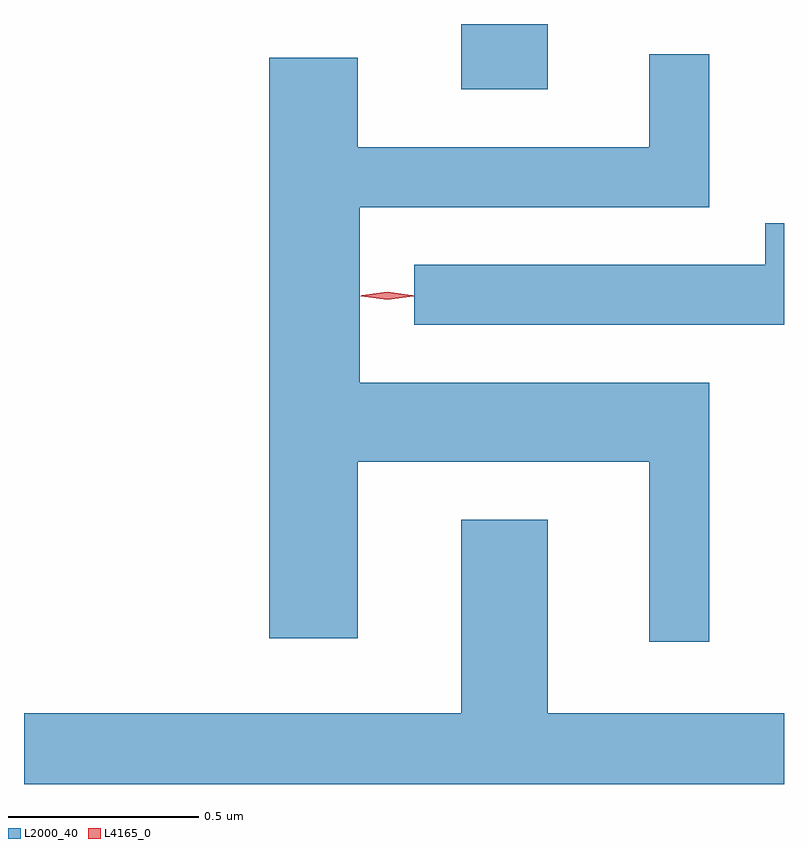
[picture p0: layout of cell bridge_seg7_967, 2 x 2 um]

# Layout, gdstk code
import gdstk
lib = gdstk.Library(unit=1e-6, precision=1e-09)
def R(c, l, rs):  # rectangles x0, y0, x1, y1
    for r in rs: c.add(gdstk.rectangle(r[:2], r[2:], *l))
def P(c, l, *ps):  # polygons
    for p in ps: c.add(gdstk.Polygon(p, *l))
L2000_40 = (2000, 40)
L4165_0 = (4165, 0)

bridge_seg7_967 = lib.new_cell('bridge_seg7_967')
R(bridge_seg7_967, L2000_40, [(562.861,1702.906,563.089,1703.078)])
P(bridge_seg7_967, L2000_40, [(563.514,1702.134),(562.594,1702.134),(562.594,1702.596),(563.514,1702.596),(563.514,1702.998),(563.356,1702.998),(563.356,1702.754),(562.589,1702.754),(562.589,1702.989),(562.356,1702.989),(562.356,1701.461),(562.589,1701.461),(562.589,1701.926),(563.356,1701.926),(563.356,1701.453),(563.514,1701.453)],
  [(563.711,1702.554),(563.661,1702.554),(563.661,1702.444),(562.738,1702.444),(562.738,1702.286),(563.711,1702.286)],
  [(563.711,1701.264),(563.089,1701.264),(563.089,1701.774),(562.861,1701.774),(562.861,1701.264),(561.711,1701.264),(561.711,1701.078),(563.711,1701.078)])
P(bridge_seg7_967, L4165_0, [(562.667,1702.352),(562.598,1702.362),(562.597,1702.362),(562.598,1702.363),(562.667,1702.372),(562.736,1702.363),(562.736,1702.362),(562.736,1702.362)],
  [(562.667,1702.354),(562.601,1702.363),(562.6,1702.364),(562.601,1702.364),(562.667,1702.374),(562.732,1702.364),(562.733,1702.364),(562.732,1702.363)])

lib.write_gds('bridge_seg7_967.gds')
